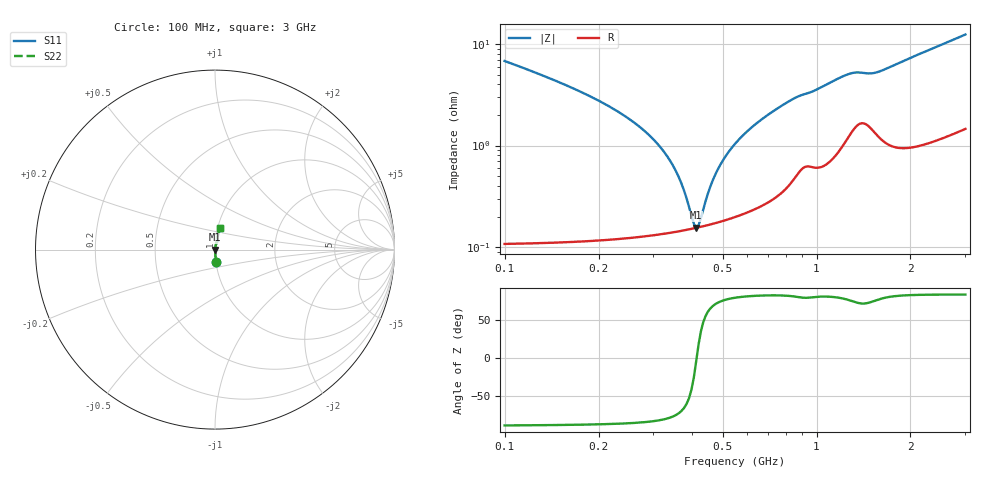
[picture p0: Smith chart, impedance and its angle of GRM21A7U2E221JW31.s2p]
!Murata Part Number: GRM21A7U2E221JW31
!These Parameters are Measured in Series Mode Connection
!Data Generated on Mar 30, 2021
!  o--ll--o
!Port1  Port2
!  o------o
!Operation Temp=25[degC], DC Bias Voltage=0[V]
!Freq. Start=100[MHz] Stop=3[GHz] 401[Steps]
# Hz S RI R 50
!Freq.(Hz) S11(Real) S11(Imag) S21(Real) S21(Imag) S12(Real) S12(Imag) S22(Real) S22(Imag)
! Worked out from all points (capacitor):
!   401 points, 100 MHz to 3 GHz, reference 50 ohm
!   read as one part in series: C = 220 pF near 114.5 MHz
!   lowest |Z| = 155 mohm at 411.8 MHz (marker M1)
!   series resonance near 412.8 MHz, so ESL is about 680 pH
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1e8  0.00568 -0.0677  0.9943 0.0677  0.9943 0.0677  0.00568 -0.0677
2.595e8  0.00152 -0.0169  0.9985 0.0169  0.9985 0.0169  0.00152 -0.0169
3.1025e8  0.00143 -0.0102  0.9986 0.0102  0.9986 0.0102  0.00143 -0.0102
3.5375e8  0.00144 -0.00545  0.9986 0.00545  0.9986 0.00545  0.00144 -0.00545
3.755e8  0.00147 -0.00334  0.9985 0.00334  0.9985 0.00334  0.00147 -0.00334
3.9725e8  0.00151 -0.00135  0.9985 0.00135  0.9985 0.00135  0.00151 -0.00135
4.045e8  0.00153 -0.000714  0.9985 0.000714  0.9985 0.000714  0.00153 -0.000714
4.1175e8  0.00155 -8.9e-05  0.9985 8.9e-05  0.9985 8.9e-05  0.00155 -8.9e-05
4.19e8  0.00156 0.000526  0.9984 -0.000526  0.9984 -0.000526  0.00156 0.000526
4.2625e8  0.00158 0.00113  0.9984 -0.00113  0.9984 -0.00113  0.00158 0.00113
4.625e8  0.0017 0.00402  0.9983 -0.00402  0.9983 -0.00402  0.0017 0.00402
4.915e8  0.00181 0.0062  0.9982 -0.0062  0.9982 -0.0062  0.00181 0.0062
5.35e8  0.00201 0.00929  0.998 -0.00929  0.998 -0.00929  0.00201 0.00929
5.8575e8  0.00229 0.0127  0.9977 -0.0127  0.9977 -0.0127  0.00229 0.0127
6.8e8  0.00297 0.0187  0.997 -0.0187  0.997 -0.0187  0.00297 0.0187
8.0325e8  0.00451 0.0261  0.9955 -0.0261  0.9955 -0.0261  0.00451 0.0261
1.0715e9  0.00794 0.0386  0.9921 -0.0386  0.9921 -0.0386  0.00794 0.0386
1.289e9  0.0154 0.0483  0.9846 -0.0483  0.9846 -0.0483  0.0154 0.0483
1.55e9  0.0153 0.0494  0.9847 -0.0494  0.9847 -0.0494  0.0153 0.0494
2.03575e9  0.0149 0.0725  0.9851 -0.0725  0.9851 -0.0725  0.0149 0.0725
2.5215e9  0.0208 0.095  0.9792 -0.095  0.9792 -0.095  0.0208 0.095
3e9  0.0288 0.1182  0.9712 -0.1182  0.9712 -0.1182  0.0288 0.1182
